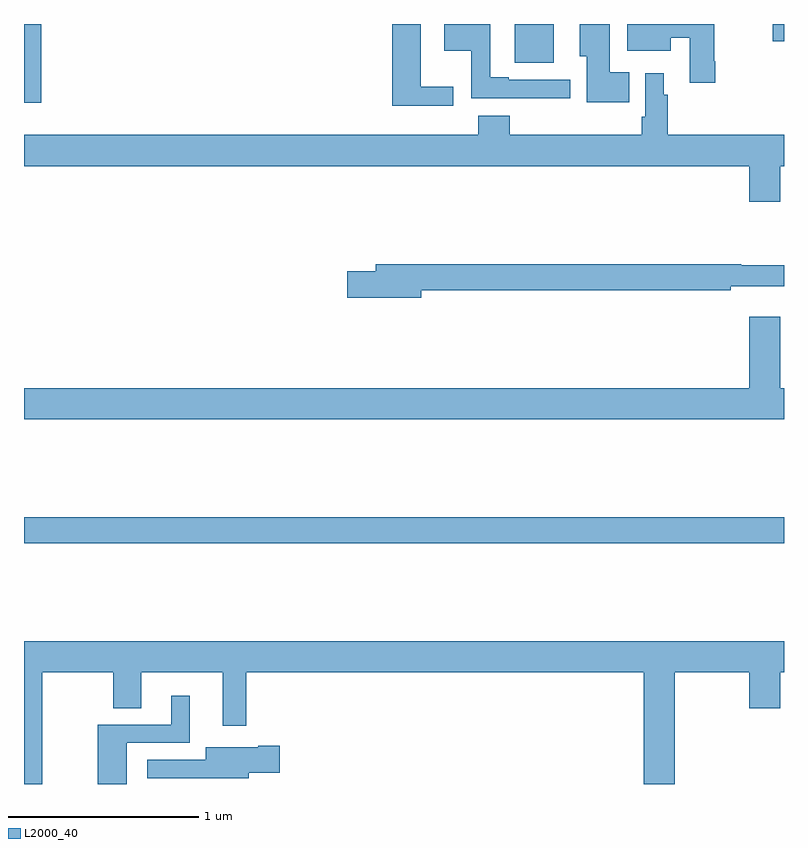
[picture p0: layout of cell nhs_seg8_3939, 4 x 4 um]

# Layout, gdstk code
import gdstk
lib = gdstk.Library(unit=1e-6, precision=1e-09)
def R(c, l, rs):  # rectangles x0, y0, x1, y1
    for r in rs: c.add(gdstk.rectangle(r[:2], r[2:], *l))
def P(c, l, *ps):  # polygons
    for p in ps: c.add(gdstk.Polygon(p, *l))
L2000_40 = (2000, 40)

nhs_seg8_3939 = lib.new_cell('nhs_seg8_3939')
R(nhs_seg8_3939, L2000_40, [(353,1129.168,357,1129.304), (353,1131.486,353.092,1131.9), (355.583,1131.695,355.789,1131.9), (356.941,1131.809,357,1131.9)])
P(nhs_seg8_3939, L2000_40, [(355.258,1131.569),(355.087,1131.569),(355.087,1131.9),(354.938,1131.9),(354.938,1131.47),(355.258,1131.47)],
  [(356.186,1131.646),(356.083,1131.646),(356.083,1131.9),(355.925,1131.9),(355.925,1131.73),(355.961,1131.73),(355.961,1131.488),(356.186,1131.488)],
  [(356.639,1131.703),(356.634,1131.703),(356.634,1131.9),(356.174,1131.9),(356.174,1131.758),(356.404,1131.758),(356.404,1131.827),(356.504,1131.827),(356.504,1131.591),(356.639,1131.591)],
  [(355.876,1131.606),(355.552,1131.606),(355.552,1131.619),(355.455,1131.619),(355.455,1131.9),(355.212,1131.9),(355.212,1131.758),(355.354,1131.758),(355.354,1131.51),(355.639,1131.51),(355.639,1131.509),(355.876,1131.509)],
  [(356.98,1131.152),(357,1131.152),(357,1131.316),(356.387,1131.316),(356.387,1131.527),(356.368,1131.527),(356.368,1131.64),(356.271,1131.64),(356.271,1131.412),(356.251,1131.412),(356.251,1131.316),(355.556,1131.316),(355.556,1131.418),(355.391,1131.418),(355.391,1131.316),(353,1131.316),(353,1131.152),(356.816,1131.152),(356.816,1130.964),(356.98,1130.964)],
  [(355.09,1130.5),(356.72,1130.5),(356.72,1130.519),(357,1130.519),(357,1130.629),(356.776,1130.629),(356.776,1130.636),(354.851,1130.636),(354.851,1130.6),(354.702,1130.6),(354.702,1130.458),(355.09,1130.458)],
  [(357,1129.984),(356.98,1129.984),(356.98,1130.359),(356.816,1130.359),(356.816,1129.984),(353,1129.984),(353,1129.82),(357,1129.82)],
  [(353.095,1128.488),(353.47,1128.488),(353.47,1128.298),(353.617,1128.298),(353.617,1128.488),(354.047,1128.488),(354.047,1128.207),(354.169,1128.207),(354.169,1128.488),(356.261,1128.488),(356.261,1127.9),(356.425,1127.9),(356.425,1128.488),(356.816,1128.488),(356.816,1128.3),(356.98,1128.3),(356.98,1128.488),(357,1128.488),(357,1128.652),(353,1128.652),(353,1127.9),(353.095,1127.9)],
  [(353.542,1128.117),(353.872,1128.117),(353.872,1128.364),(353.774,1128.364),(353.774,1128.213),(353.389,1128.213),(353.389,1127.9),(353.542,1127.9)],
  [(354.184,1127.96),(354.346,1127.96),(354.346,1128.102),(354.233,1128.102),(354.233,1128.094),(353.957,1128.094),(353.957,1128.027),(353.649,1128.027),(353.649,1127.931),(353.961,1127.931),(353.961,1127.93),(354.184,1127.93)])

lib.write_gds('nhs_seg8_3939.gds')
